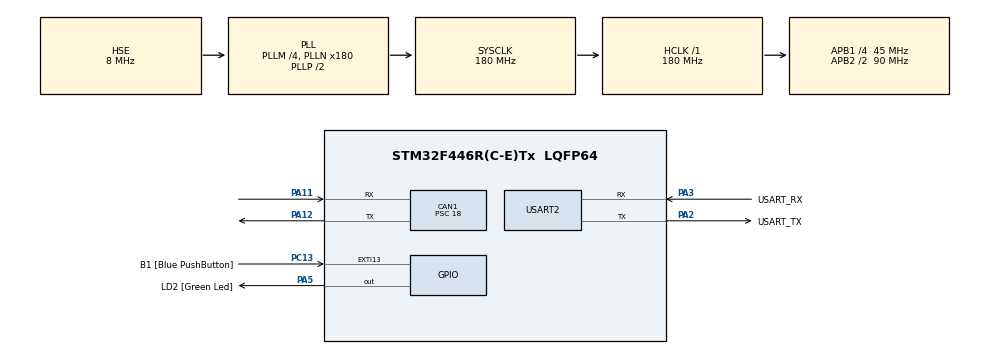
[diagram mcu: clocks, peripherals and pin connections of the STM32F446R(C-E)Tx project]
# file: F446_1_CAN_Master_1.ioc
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CAN1.BS1=CAN_BS1_2TQ
CAN1.BS2=CAN_BS2_2TQ
CAN1.CalculateBaudRate=500000
CAN1.CalculateTimeBit=2000
CAN1.CalculateTimeQuantum=400.0
CAN1.Mode=CAN_MODE_NORMAL
CAN1.Prescaler=18
Mcu.Family=STM32F4
Mcu.Name=STM32F446R(C-E)Tx
Mcu.Package=LQFP64
NVIC.CAN1_RX0_IRQn=true\:0\:0\:false\:false\:true\:true\:true\:true
NVIC.PriorityGroup=NVIC_PRIORITYGROUP_0
PA11.Mode=CAN_Activate
PA11.Signal=CAN1_RX
PA12.Mode=CAN_Activate
PA12.Signal=CAN1_TX
PA13.GPIO_Label=TMS
PA13.Mode=Serial_Wire
PA13.Signal=SYS_JTMS-SWDIO
PA14.GPIO_Label=TCK
PA14.Mode=Serial_Wire
PA14.Signal=SYS_JTCK-SWCLK
PA2.GPIO_Label=USART_TX
PA2.Mode=Asynchronous
PA2.Signal=USART2_TX
PA3.GPIO_Label=USART_RX
PA3.Mode=Asynchronous
PA3.Signal=USART2_RX
PA5.GPIO_Label=LD2 [Green Led]
PA5.Signal=GPIO_Output
PB3.GPIO_Label=SWO
PB3.Signal=SYS_JTDO-SWO
PC13.GPIO_Label=B1 [Blue PushButton]
PC13.GPIO_ModeDefaultEXTI=GPIO_MODE_IT_FALLING
PC13.Signal=GPXTI13
PC14-OSC32_IN.Mode=LSE-External-Oscillator
PC14-OSC32_IN.Signal=RCC_OSC32_IN
PC15-OSC32_OUT.Mode=LSE-External-Oscillator
PC15-OSC32_OUT.Signal=RCC_OSC32_OUT
PH0-OSC_IN.Mode=HSE-External-Oscillator
PH0-OSC_IN.Signal=RCC_OSC_IN
PH1-OSC_OUT.Mode=HSE-External-Oscillator
PH1-OSC_OUT.Signal=RCC_OSC_OUT
ProjectManager.HeapSize=0x200
ProjectManager.StackSize=0x400
ProjectManager.TargetToolchain=STM32CubeIDE
RCC.48MHZClocksFreq_Value=84000000
RCC.AHBFreq_Value=180000000
RCC.APB1CLKDivider=RCC_HCLK_DIV4
RCC.APB1Freq_Value=45000000
RCC.APB1TimFreq_Value=90000000
RCC.APB2CLKDivider=RCC_HCLK_DIV2
RCC.APB2Freq_Value=90000000
RCC.APB2TimFreq_Value=180000000
RCC.CortexFreq_Value=180000000
RCC.FLatency-AdvancedSettings=FLASH_LATENCY_5
RCC.HCLKFreq_Value=180000000
RCC.HSE_VALUE=8000000
RCC.HSI_VALUE=16000000
RCC.PLLM=4
RCC.PLLN=180
RCC.PLLSourceVirtual=RCC_PLLSOURCE_HSE
RCC.SYSCLKFreq_VALUE=180000000
RCC.SYSCLKSource=RCC_SYSCLKSOURCE_PLLCLK
RCC.USBFreq_Value=180000000
RCC.VCOOutputFreq_Value=360000000
USART2.VirtualMode=VM_ASYNC
board=NUCLEO-F446RE

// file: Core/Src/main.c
/* USER CODE BEGIN Header */
/**
  ******************************************************************************
  * @file           : main.c
  * @brief          : Main program body
  ******************************************************************************
  * @attention
  *
  * Copyright (c) 2024 STMicroelectronics.
  * All rights reserved.
  *
  * This software is licensed under terms that can be found in the LICENSE file
  * in the root directory of this software component.
  * If no LICENSE file comes with this software, it is provided AS-IS.
  *
  ******************************************************************************
  */
/* USER CODE END Header */
#include "main.h"

/* USER CODE BEGIN Includes */
#include <string.h>
/* USER CODE END Includes */

CAN_HandleTypeDef hcan1;

UART_HandleTypeDef huart2;

void SystemClock_Config(void);
static void MX_GPIO_Init(void);
static void MX_USART2_UART_Init(void);
static void MX_CAN1_Init(void);

/* USER CODE BEGIN 0 */

CAN_TxHeaderTypeDef TxHeader;
CAN_RxHeaderTypeDef RxHeader;

uint8_t TxData[8];
uint8_t RxData[8];

uint32_t TxMailbox;

uint32_t msg_count = 0;

void HAL_CAN_RxFifo0MsgPendingCallback(CAN_HandleTypeDef *hcan)
{
  if(HAL_CAN_GetRxMessage(hcan, CAN_RX_FIFO0, &RxHeader	, RxData) == HAL_OK) {

	  HAL_UART_Transmit(&huart2, RxData, strlen((char *)RxData), HAL_MAX_DELAY);
  }

  msg_count++;
}

/* USER CODE END 0 */

int main(void)
{

  /* MCU Configuration--------------------------------------------------------*/

  /* Reset of all peripherals, Initializes the Flash interface and the Systick. */
  HAL_Init();

  /* Configure the system clock */
  SystemClock_Config();

  /* Initialize all configured peripherals */
  MX_GPIO_Init();
  MX_USART2_UART_Init();
  MX_CAN1_Init();
  /* USER CODE BEGIN 2 */

  HAL_CAN_Start(&hcan1);

  HAL_CAN_ActivateNotification(&hcan1, CAN_IT_RX_FIFO0_MSG_PENDING);

  TxHeader.DLC = 8;
  TxHeader.IDE = CAN_ID_STD;
  TxHeader.RTR = CAN_RTR_DATA;
  TxHeader.StdId = 0x123;

  TxData[0] = 0x01;
  TxData[1] = 0x02;
  TxData[2] = 0x04;
  TxData[3] = 0x08;
  TxData[4] = 0x10;
  TxData[5] = 0x20;
  TxData[6] = 0x40;
  TxData[7] = 0x80;

  /* USER CODE END 2 */

  /* Infinite loop */
  /* USER CODE BEGIN WHILE */
  while (1)
  {
	  if(HAL_CAN_AddTxMessage(&hcan1, &TxHeader, TxData, &TxMailbox) != HAL_OK) {

		  Error_Handler();
	  }

	 HAL_GPIO_TogglePin(LD2_GPIO_Port, LD2_Pin);
	 HAL_Delay(500);

    /* USER CODE END WHILE */

  }
}

void SystemClock_Config(void)
{
  RCC_OscInitTypeDef RCC_OscInitStruct = {0};
  RCC_ClkInitTypeDef RCC_ClkInitStruct = {0};

  /** Configure the main internal regulator output voltage
  */
  __HAL_RCC_PWR_CLK_ENABLE();
  __HAL_PWR_VOLTAGESCALING_CONFIG(PWR_REGULATOR_VOLTAGE_SCALE1);

  /** Initializes the RCC Oscillators according to the specified parameters
  * in the RCC_OscInitTypeDef structure.
  */
  RCC_OscInitStruct.OscillatorType = RCC_OSCILLATORTYPE_HSE;
  RCC_OscInitStruct.HSEState = RCC_HSE_ON;
  RCC_OscInitStruct.PLL.PLLState = RCC_PLL_ON;
  RCC_OscInitStruct.PLL.PLLSource = RCC_PLLSOURCE_HSE;
  RCC_OscInitStruct.PLL.PLLM = 4;
  RCC_OscInitStruct.PLL.PLLN = 180;
  RCC_OscInitStruct.PLL.PLLP = RCC_PLLP_DIV2;
  RCC_OscInitStruct.PLL.PLLQ = 2;
  RCC_OscInitStruct.PLL.PLLR = 2;
  if (HAL_RCC_OscConfig(&RCC_OscInitStruct) != HAL_OK)
  {
    Error_Handler();
  }

  /** Activate the Over-Drive mode
  */
  if (HAL_PWREx_EnableOverDrive() != HAL_OK)
  {
    Error_Handler();
  }

  /** Initializes the CPU, AHB and APB buses clocks
  */
  RCC_ClkInitStruct.ClockType = RCC_CLOCKTYPE_HCLK|RCC_CLOCKTYPE_SYSCLK
                              |RCC_CLOCKTYPE_PCLK1|RCC_CLOCKTYPE_PCLK2;
  RCC_ClkInitStruct.SYSCLKSource = RCC_SYSCLKSOURCE_PLLCLK;
  RCC_ClkInitStruct.AHBCLKDivider = RCC_SYSCLK_DIV1;
  RCC_ClkInitStruct.APB1CLKDivider = RCC_HCLK_DIV4;
  RCC_ClkInitStruct.APB2CLKDivider = RCC_HCLK_DIV2;

  if (HAL_RCC_ClockConfig(&RCC_ClkInitStruct, FLASH_LATENCY_5) != HAL_OK)
  {
    Error_Handler();
  }
}

static void MX_CAN1_Init(void)
{

  hcan1.Instance = CAN1;
  hcan1.Init.Prescaler = 18;
  hcan1.Init.Mode = CAN_MODE_NORMAL;
  hcan1.Init.SyncJumpWidth = CAN_SJW_1TQ;
  hcan1.Init.TimeSeg1 = CAN_BS1_2TQ;
  hcan1.Init.TimeSeg2 = CAN_BS2_2TQ;
  hcan1.Init.TimeTriggeredMode = DISABLE;
  hcan1.Init.AutoBusOff = DISABLE;
  hcan1.Init.AutoWakeUp = DISABLE;
  hcan1.Init.AutoRetransmission = DISABLE;
  hcan1.Init.ReceiveFifoLocked = DISABLE;
  hcan1.Init.TransmitFifoPriority = DISABLE;
  if (HAL_CAN_Init(&hcan1) != HAL_OK)
  {
    Error_Handler();
  }
  /* USER CODE BEGIN CAN1_Init 2 */

  CAN_FilterTypeDef FilterConfig;

  FilterConfig.FilterActivation = CAN_FILTER_ENABLE;
  FilterConfig.FilterBank = 14;
  FilterConfig.FilterFIFOAssignment = CAN_RX_FIFO0;
  FilterConfig.FilterIdHigh = 0x124 << 5;
  FilterConfig.FilterIdLow = 0;
  FilterConfig.FilterMaskIdHigh = 0x124<<5;
  FilterConfig.FilterMaskIdLow = 0;
  FilterConfig.FilterMode = CAN_FILTERMODE_IDMASK;
  FilterConfig.FilterScale = CAN_FILTERSCALE_32BIT;
  FilterConfig.SlaveStartFilterBank = 10;

  HAL_CAN_ConfigFilter(&hcan1, &FilterConfig);
  /* USER CODE END CAN1_Init 2 */

}

static void MX_USART2_UART_Init(void)
{

  huart2.Instance = USART2;
  huart2.Init.BaudRate = 115200;
  huart2.Init.WordLength = UART_WORDLENGTH_8B;
  huart2.Init.StopBits = UART_STOPBITS_1;
  huart2.Init.Parity = UART_PARITY_NONE;
  huart2.Init.Mode = UART_MODE_TX_RX;
  huart2.Init.HwFlowCtl = UART_HWCONTROL_NONE;
  huart2.Init.OverSampling = UART_OVERSAMPLING_16;
  if (HAL_UART_Init(&huart2) != HAL_OK)
  {
    Error_Handler();
  }

}

static void MX_GPIO_Init(void)
{
  GPIO_InitTypeDef GPIO_InitStruct = {0};

  /* GPIO Ports Clock Enable */
  __HAL_RCC_GPIOC_CLK_ENABLE();
  __HAL_RCC_GPIOH_CLK_ENABLE();
  __HAL_RCC_GPIOA_CLK_ENABLE();
  __HAL_RCC_GPIOB_CLK_ENABLE();

  /*Configure GPIO pin Output Level */
  HAL_GPIO_WritePin(LD2_GPIO_Port, LD2_Pin, GPIO_PIN_RESET);

  /*Configure GPIO pin : B1_Pin */
  GPIO_InitStruct.Pin = B1_Pin;
  GPIO_InitStruct.Mode = GPIO_MODE_IT_FALLING;
  GPIO_InitStruct.Pull = GPIO_NOPULL;
  HAL_GPIO_Init(B1_GPIO_Port, &GPIO_InitStruct);

  /*Configure GPIO pin : LD2_Pin */
  GPIO_InitStruct.Pin = LD2_Pin;
  GPIO_InitStruct.Mode = GPIO_MODE_OUTPUT_PP;
  GPIO_InitStruct.Pull = GPIO_NOPULL;
  GPIO_InitStruct.Speed = GPIO_SPEED_FREQ_LOW;
  HAL_GPIO_Init(LD2_GPIO_Port, &GPIO_InitStruct);

}

void Error_Handler(void)
{
  /* USER CODE BEGIN Error_Handler_Debug */
  /* User can add his own implementation to report the HAL error return state */
  __disable_irq();
  while (1)
  {
	 HAL_GPIO_TogglePin(LD2_GPIO_Port, LD2_Pin);
	 HAL_Delay(300);
  }
  /* USER CODE END Error_Handler_Debug */
}
